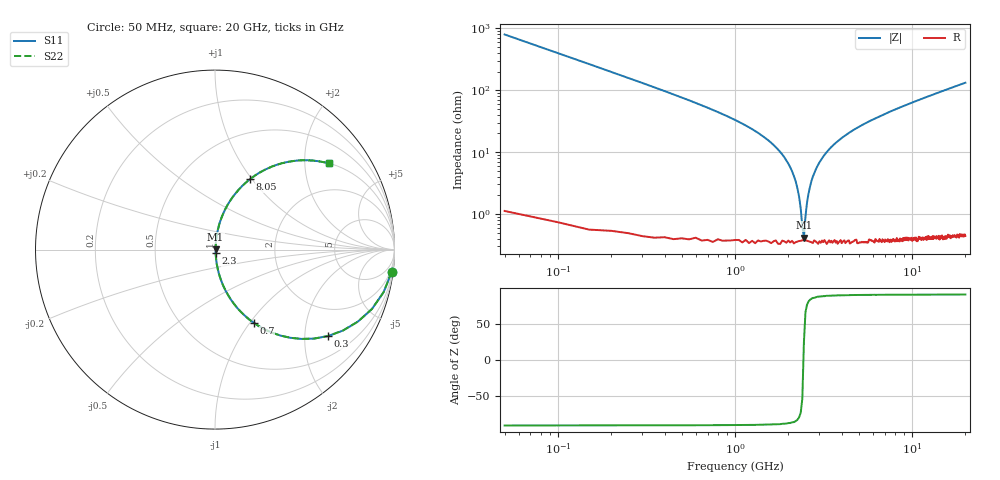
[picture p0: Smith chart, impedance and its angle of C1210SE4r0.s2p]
! AVX Thin Film Operation		Date: April 2012
! Description: Accu-P® Series, Thin Film, SMD, RF Capacitor
! Part Number: 12101J4R0ABTTR
!	100	MHz	-	20.05	GHz
!	Serial	Measurements
#	MHZ	S	MA	R	50
!	S11	S21	S12	S22
!	dB	Phase	dB	Phase	dB	Phase	dB	Phase
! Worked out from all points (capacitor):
!   400 points, 50 MHz to 20 GHz, reference 50 ohm
!   read as one part in series: C = 4 pF near 150 MHz
!   lowest |Z| = 414 mohm at 2.45 GHz (marker M1)
!   series resonance near 2.437 GHz, so ESL is about 1.1 nH
!   S11 on the Smith chart (normalised r, x): 50 MHz: 1, -16; 300 MHz: 1.01, -2.61; 700 MHz: 1.01, -1.04; 2.3 GHz: 1.01, -0.04; 8.05 GHz: 1.01, +0.98; 20 GHz: 1.01, +2.64
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50  0.992 -7.2  0.125 82.8  0.125 82.8  0.992 -7.2
100  0.969 -14.1  0.244 75.8  0.244 75.8  0.969 -14.1
150  0.935 -20.7  0.354 69.2  0.354 69.2  0.935 -20.7
300  0.793 -37.4  0.607 52.4  0.607 52.4  0.793 -37.4
700  0.461 -62.1  0.884 27.5  0.884 27.5  0.461 -62.1
1100  0.276 -73.3  0.958 16.0  0.958 16.0  0.276 -73.3
1850  0.091 -82.6  0.992 5.2  0.992 5.2  0.091 -82.6
2100  0.049 -83.1  0.995 2.8  0.995 2.8  0.049 -83.1
2300  0.019 -78.3  0.996 1.1  0.996 1.1  0.019 -78.3
2450  0.00391 25.7  0.996 -0.1  0.996 -0.1  0.00391 25.7
2500  0.008993 66.5  0.996 -0.5  0.996 -0.5  0.008993 66.5
2550  0.015 75.7  0.996 -0.8  0.996 -0.8  0.015 75.7
2700  0.034 82.1  0.996 -1.9  0.996 -1.9  0.034 82.1
3000  0.068 83.1  0.994 -3.9  0.994 -3.9  0.068 83.1
3400  0.11 81.9  0.99 -6.3  0.99 -6.3  0.11 81.9
4650  0.22 76.4  0.972 -12.7  0.972 -12.7  0.22 76.4
6700  0.362 68.2  0.929 -21.2  0.929 -21.2  0.362 68.2
8050  0.439 63.5  0.895 -26.0  0.895 -26.0  0.439 63.5
10050  0.534 57.4  0.842 -32.3  0.842 -32.3  0.534 57.4
13350  0.652 49.0  0.755 -40.7  0.755 -40.7  0.652 49.0
16700  0.737 42.3  0.673 -47.5  0.673 -47.5  0.737 42.3
20000  0.796 37.1  0.603 -52.7  0.603 -52.7  0.796 37.1
